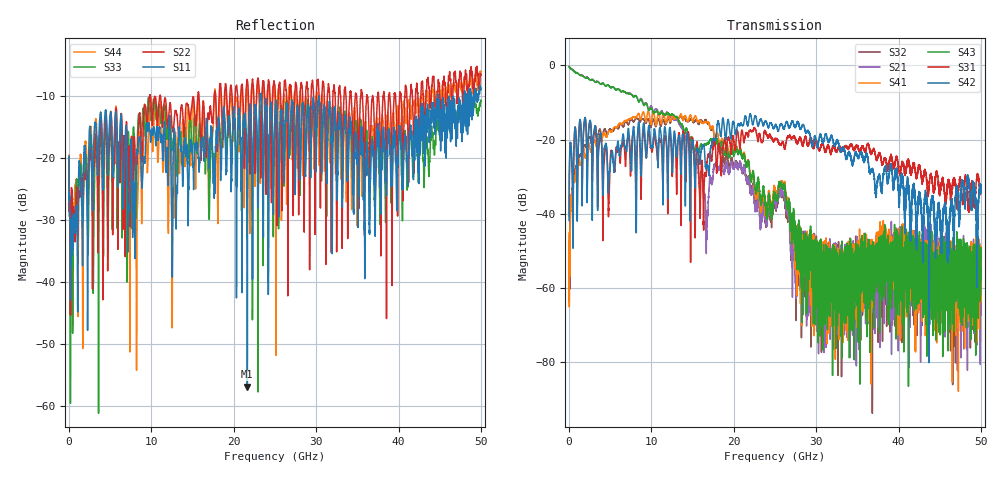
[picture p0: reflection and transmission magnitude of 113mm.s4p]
!Agilent Technologies,N5245A,MY51251349,A.09.33.09
!Agilent N5245A: A.09.33.09
!Date: Tuesday, September 29, 2020 11:37:21
!Correction: S11(Full 4 Port(1,2,3,4))
!S12(Full 4 Port(1,2,3,4))
!S13(Full 4 Port(1,2,3,4))
!S14(Full 4 Port(1,2,3,4))
!S21(Full 4 Port(1,2,3,4))
!S22(Full 4 Port(1,2,3,4))
!S23(Full 4 Port(1,2,3,4))
!S24(Full 4 Port(1,2,3,4))
!S31(Full 4 Port(1,2,3,4))
!S32(Full 4 Port(1,2,3,4))
!S33(Full 4 Port(1,2,3,4))
!S34(Full 4 Port(1,2,3,4))
!S41(Full 4 Port(1,2,3,4))
!S42(Full 4 Port(1,2,3,4))
!S43(Full 4 Port(1,2,3,4))
!S44(Full 4 Port(1,2,3,4))
!S4P File: Measurements: <S11,S12,S13,S14>,
!<S21,S22,S23,S24>,
!<S31,S32,S33,S34>,
!<S41,S42,S43,S44>:
# Hz S  dB  R 50
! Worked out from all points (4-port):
!   6401 points, 10 MHz to 50 GHz, reference 50 ohm
!   strongest paths, dB at 10 MHz, 12.51 GHz, 25 GHz, 37.5 GHz, 50 GHz:
!     S42: -41.8, -26.5, -16.2, -30.3, -32.2
!     S31: -40.7, -29.0, -19.8, -24.5, -32.9
!     S43: -0.4, -13.1, -34.6, -58.0, -52.5
!     S41: -50.6, -13.9, -34.0, -46.2, -52.2
!     S21: -0.3, -13.4, -35.8, -51.4, -51.0
!     S32: -45.8, -14.2, -38.1, -53.2, -53.8
!   lowest |S11| = -56.9 dB at 21.65 GHz (marker M1), VSWR 1.00, Z = 49.9 - j0.131 ohm
!   |S11| at or under -10 dB: start of sweep to 23.2 GHz; 23.35 GHz to 30.32 GHz (6.962 GHz wide, 25.9 % of centre); 30.33 GHz to 44.76 GHz (14.43 GHz wide, 38.4 % of centre)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
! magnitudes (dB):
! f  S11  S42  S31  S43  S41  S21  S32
! 10 MHz  -19.7  -41.8  -40.7  -0.4  -50.6  -0.3  -45.8
! 1.033 GHz  -43.7  -31.5  -31.9  -2.1  -26.1  -2.0  -26.5
! 6.173 GHz  -16.0  -23.9  -25.5  -6.7  -15.7  -6.7  -16.0
! 16.67 GHz  -13.7  -27.5  -28.8  -21.3  -15.4  -46.5  -15.1
! 21.65 GHz  -56.9  -15.9  -18.5  -26.8  -26.7  -30.6  -30.8
! 30.34 GHz  -10.1  -20.1  -23.0  -53.5  -53.0  -53.0  -55.8
! 50 GHz  -8.7  -32.2  -32.9  -52.5  -52.2  -51.0  -53.8
